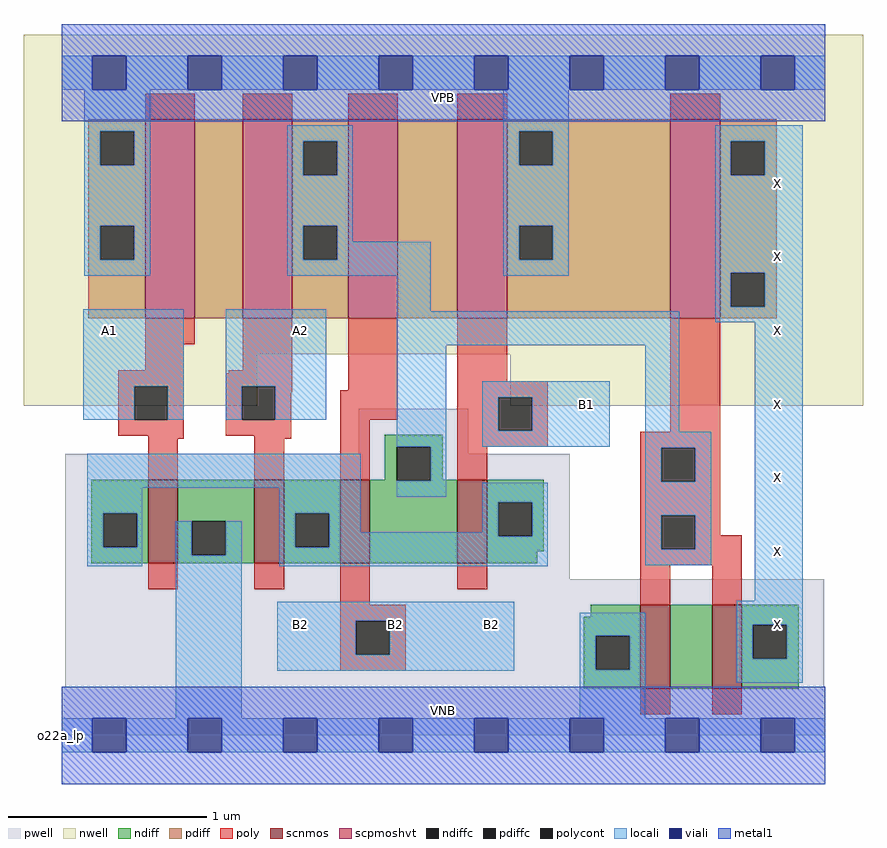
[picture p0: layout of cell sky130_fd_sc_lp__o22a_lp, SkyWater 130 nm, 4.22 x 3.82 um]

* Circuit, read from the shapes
.subckt sky130_fd_sc_lp__o22a_lp A1 A2 B1 B2 VGND VNB VPB VPWR X
XM1 VGND A1 n1 VNB sky130_fd_pr__nfet_01v8 w=0.42 l=0.15
XM2 n1 A2 VGND VNB sky130_fd_pr__nfet_01v8 w=0.42 l=0.15
XM3 n2 B2 n1 VNB sky130_fd_pr__nfet_01v8 w=0.42 l=0.15
XM4 n1 B1 n2 VNB sky130_fd_pr__nfet_01v8 w=0.42 l=0.15
XM5 n3 n2 VGND VNB sky130_fd_pr__nfet_01v8 w=0.42 l=0.15
XM6 X n2 n3 VNB sky130_fd_pr__nfet_01v8 w=0.42 l=0.15
XM7 n4 A1 VPWR VPB sky130_fd_pr__pfet_01v8_hvt w=1 l=0.25
XM8 n2 A2 n4 VPB sky130_fd_pr__pfet_01v8_hvt w=1 l=0.25
XM9 n5 B2 n2 VPB sky130_fd_pr__pfet_01v8_hvt w=1 l=0.25
XM10 VPWR B1 n5 VPB sky130_fd_pr__pfet_01v8_hvt w=1 l=0.25
XM11 X n2 VPWR VPB sky130_fd_pr__pfet_01v8_hvt w=1 l=0.25
.ends

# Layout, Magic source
magic
tech sky130A
magscale 1 2
<< nwell >>
rect -38 383 806 704
rect -38 331 197 383
rect 451 331 806 383
<< pwell >>
rect 299 283 409 328
rect 4 157 511 283
rect 4 49 767 157
rect 0 0 768 49
<< scnmos >>
rect 87 173 117 257
rect 194 173 224 257
rect 280 173 310 257
rect 398 173 428 257
rect 582 47 612 131
rect 654 47 684 131
<< scpmoshvt >>
rect 84 419 134 619
rect 182 419 232 619
rect 288 419 338 619
rect 398 419 448 619
rect 612 419 662 619
<< ndiff >>
rect 325 290 383 302
rect 325 257 337 290
rect 30 223 87 257
rect 30 189 42 223
rect 76 189 87 223
rect 30 173 87 189
rect 117 215 194 257
rect 117 181 131 215
rect 165 181 194 215
rect 117 173 194 181
rect 224 223 280 257
rect 224 189 235 223
rect 269 189 280 223
rect 224 173 280 189
rect 310 256 337 257
rect 371 257 383 290
rect 371 256 398 257
rect 310 173 398 256
rect 428 234 485 257
rect 428 200 439 234
rect 473 200 485 234
rect 428 185 485 200
rect 428 173 478 185
rect 532 119 582 131
rect 525 100 582 119
rect 525 66 537 100
rect 571 66 582 100
rect 525 47 582 66
rect 612 47 654 131
rect 684 111 741 131
rect 684 77 695 111
rect 729 77 741 111
rect 684 47 741 77
<< pdiff >>
rect 27 607 84 619
rect 27 573 39 607
rect 73 573 84 607
rect 27 512 84 573
rect 27 478 39 512
rect 73 478 84 512
rect 27 419 84 478
rect 134 419 182 619
rect 232 597 288 619
rect 232 563 243 597
rect 277 563 288 597
rect 232 512 288 563
rect 232 478 243 512
rect 277 478 288 512
rect 232 419 288 478
rect 338 419 398 619
rect 448 607 612 619
rect 448 573 460 607
rect 494 573 612 607
rect 448 512 612 573
rect 448 478 460 512
rect 494 478 612 512
rect 448 419 612 478
rect 662 597 719 619
rect 662 563 673 597
rect 707 563 719 597
rect 662 465 719 563
rect 662 431 673 465
rect 707 431 719 465
rect 662 419 719 431
<< ndiffc >>
rect 42 189 76 223
rect 131 181 165 215
rect 235 189 269 223
rect 337 256 371 290
rect 439 200 473 234
rect 537 66 571 100
rect 695 77 729 111
<< pdiffc >>
rect 39 573 73 607
rect 39 478 73 512
rect 243 563 277 597
rect 243 478 277 512
rect 460 573 494 607
rect 460 478 494 512
rect 673 563 707 597
rect 673 431 707 465
<< poly >>
rect 84 619 134 645
rect 182 619 232 645
rect 288 619 338 645
rect 398 619 448 645
rect 612 619 662 645
rect 84 393 134 419
rect 84 367 123 393
rect 182 367 232 419
rect 57 351 123 367
rect 168 364 232 367
rect 57 317 73 351
rect 107 317 123 351
rect 57 301 123 317
rect 165 351 232 364
rect 165 317 181 351
rect 215 345 232 351
rect 288 347 338 419
rect 215 317 231 345
rect 165 301 231 317
rect 87 298 123 301
rect 194 298 231 301
rect 280 317 338 347
rect 398 356 448 419
rect 398 340 489 356
rect 87 257 117 298
rect 194 257 224 298
rect 280 257 310 317
rect 398 306 439 340
rect 473 306 489 340
rect 398 290 489 306
rect 612 305 662 419
rect 398 257 428 290
rect 582 289 662 305
rect 582 255 603 289
rect 637 255 662 289
rect 582 221 662 255
rect 582 187 603 221
rect 637 201 662 221
rect 637 187 684 201
rect 87 147 117 173
rect 194 147 224 173
rect 280 131 310 173
rect 398 147 428 173
rect 582 171 684 187
rect 582 131 612 171
rect 654 131 684 171
rect 280 115 346 131
rect 280 81 296 115
rect 330 81 346 115
rect 280 65 346 81
rect 582 21 612 47
rect 654 21 684 47
<< polycont >>
rect 73 317 107 351
rect 181 317 215 351
rect 439 306 473 340
rect 603 255 637 289
rect 603 187 637 221
rect 296 81 330 115
<< locali >>
rect 0 649 31 683
rect 65 649 127 683
rect 161 649 223 683
rect 257 649 319 683
rect 353 649 415 683
rect 449 649 511 683
rect 545 649 607 683
rect 641 649 703 683
rect 737 649 768 683
rect 23 607 89 649
rect 23 573 39 607
rect 73 573 89 607
rect 23 512 89 573
rect 23 478 39 512
rect 73 478 89 512
rect 23 462 89 478
rect 227 597 293 613
rect 227 563 243 597
rect 277 563 293 597
rect 227 512 293 563
rect 227 478 243 512
rect 277 496 293 512
rect 444 607 510 649
rect 444 573 460 607
rect 494 573 510 607
rect 444 512 510 573
rect 277 478 371 496
rect 227 462 371 478
rect 444 478 460 512
rect 494 478 510 512
rect 444 462 510 478
rect 657 597 745 613
rect 657 563 673 597
rect 707 563 745 597
rect 657 465 745 563
rect 22 351 123 428
rect 22 317 73 351
rect 107 317 123 351
rect 165 351 266 428
rect 165 317 181 351
rect 215 317 266 351
rect 337 426 371 462
rect 657 431 673 465
rect 707 431 745 465
rect 337 392 621 426
rect 657 415 745 431
rect 337 290 387 392
rect 423 340 551 356
rect 423 306 439 340
rect 473 306 551 340
rect 423 290 551 306
rect 587 305 621 392
rect 26 249 301 283
rect 26 223 81 249
rect 26 189 42 223
rect 76 189 81 223
rect 219 223 301 249
rect 371 256 387 290
rect 337 240 387 256
rect 587 289 653 305
rect 587 255 603 289
rect 637 255 653 289
rect 26 170 81 189
rect 115 181 131 215
rect 165 181 181 215
rect 115 17 181 181
rect 219 189 235 223
rect 269 204 301 223
rect 423 234 489 254
rect 423 204 439 234
rect 269 200 439 204
rect 473 200 489 234
rect 269 189 489 200
rect 219 170 489 189
rect 587 221 653 255
rect 587 187 603 221
rect 637 187 653 221
rect 587 171 653 187
rect 697 135 745 415
rect 217 115 455 134
rect 217 81 296 115
rect 330 81 455 115
rect 217 65 455 81
rect 521 100 587 123
rect 521 66 537 100
rect 571 66 587 100
rect 521 17 587 66
rect 679 111 745 135
rect 679 77 695 111
rect 729 77 745 111
rect 679 53 745 77
rect 0 -17 31 17
rect 65 -17 127 17
rect 161 -17 223 17
rect 257 -17 319 17
rect 353 -17 415 17
rect 449 -17 511 17
rect 545 -17 607 17
rect 641 -17 703 17
rect 737 -17 768 17
<< viali >>
rect 31 649 65 683
rect 127 649 161 683
rect 223 649 257 683
rect 319 649 353 683
rect 415 649 449 683
rect 511 649 545 683
rect 607 649 641 683
rect 703 649 737 683
rect 31 -17 65 17
rect 127 -17 161 17
rect 223 -17 257 17
rect 319 -17 353 17
rect 415 -17 449 17
rect 511 -17 545 17
rect 607 -17 641 17
rect 703 -17 737 17
<< metal1 >>
rect 0 683 768 715
rect 0 649 31 683
rect 65 649 127 683
rect 161 649 223 683
rect 257 649 319 683
rect 353 649 415 683
rect 449 649 511 683
rect 545 649 607 683
rect 641 649 703 683
rect 737 649 768 683
rect 0 617 768 649
rect 0 17 768 49
rect 0 -17 31 17
rect 65 -17 127 17
rect 161 -17 223 17
rect 257 -17 319 17
rect 353 -17 415 17
rect 449 -17 511 17
rect 545 -17 607 17
rect 641 -17 703 17
rect 737 -17 768 17
rect 0 -49 768 -17
<< labels >>
flabel pwell s 0 0 768 49 0 FreeSans 200 0 0 0 VNB
port 6 nsew ground bidirectional
flabel nwell s 0 617 768 666 0 FreeSans 200 0 0 0 VPB
port 7 nsew power bidirectional
rlabel comment s 0 0 0 0 4 o22a_lp
flabel metal1 s 0 617 768 666 0 FreeSans 340 0 0 0 VPWR
port 8 nsew power bidirectional
flabel metal1 s 0 0 768 49 0 FreeSans 340 0 0 0 VGND
port 5 nsew ground bidirectional
flabel locali s 511 316 545 350 0 FreeSans 340 0 0 0 B1
port 3 nsew signal input
flabel locali s 223 390 257 424 0 FreeSans 340 0 0 0 A2
port 2 nsew signal input
flabel locali s 31 390 65 424 0 FreeSans 340 0 0 0 A1
port 1 nsew signal input
flabel locali s 703 94 737 128 0 FreeSans 340 0 0 0 X
port 9 nsew signal output
flabel locali s 703 168 737 202 0 FreeSans 340 0 0 0 X
port 9 nsew signal output
flabel locali s 703 242 737 276 0 FreeSans 340 0 0 0 X
port 9 nsew signal output
flabel locali s 703 316 737 350 0 FreeSans 340 0 0 0 X
port 9 nsew signal output
flabel locali s 703 390 737 424 0 FreeSans 340 0 0 0 X
port 9 nsew signal output
flabel locali s 703 464 737 498 0 FreeSans 340 0 0 0 X
port 9 nsew signal output
flabel locali s 703 538 737 572 0 FreeSans 340 0 0 0 X
port 9 nsew signal output
flabel locali s 223 94 257 128 0 FreeSans 340 0 0 0 B2
port 4 nsew signal input
flabel locali s 319 94 353 128 0 FreeSans 340 0 0 0 B2
port 4 nsew signal input
flabel locali s 415 94 449 128 0 FreeSans 340 0 0 0 B2
port 4 nsew signal input
<< properties >>
string LEFsite unit
string LEFclass CORE
string FIXED_BBOX 0 0 768 666
string GDS_FILE $PDKPATH/libs.ref/sky130_fd_sc_lp/gds/sky130_fd_sc_lp.gds
string LEFsymmetry X Y R90
string GDS_END 967738
string GDS_START 960438
<< end >>
